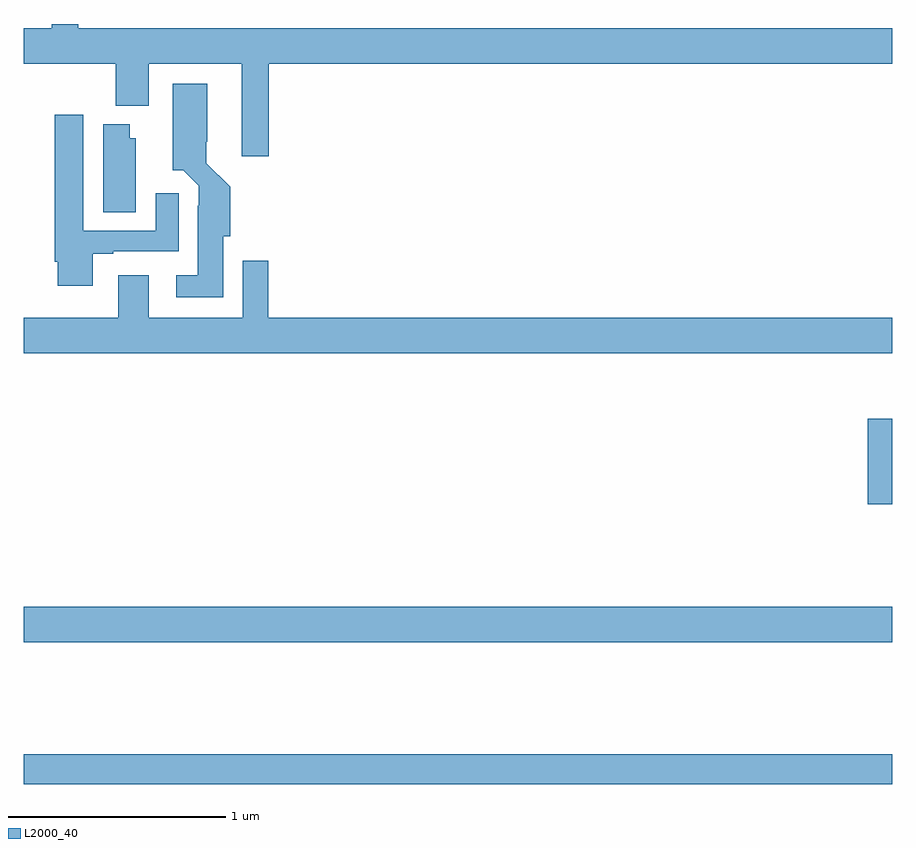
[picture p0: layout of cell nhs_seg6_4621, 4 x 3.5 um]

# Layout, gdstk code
import gdstk
lib = gdstk.Library(unit=1e-6, precision=1e-09)
def R(c, l, rs):  # rectangles x0, y0, x1, y1
    for r in rs: c.add(gdstk.rectangle(r[:2], r[2:], *l))
def P(c, l, *ps):  # polygons
    for p in ps: c.add(gdstk.Polygon(p, *l))
L2000_40 = (2000, 40)

nhs_seg6_4621 = lib.new_cell('nhs_seg6_4621')
R(nhs_seg6_4621, L2000_40, [(383,964,387,964.136), (383,964.652,387,964.816), (386.888,965.289,387,965.683)])
P(nhs_seg6_4621, L2000_40, [(384.128,967.316),(387,967.316),(387,967.48),(383.251,967.48),(383.251,967.5),(383.129,967.5),(383.129,967.48),(383,967.48),(383,967.316),(383.423,967.316),(383.423,967.124),(383.575,967.124),(383.575,967.316),(384.005,967.316),(384.005,966.891),(384.128,966.891)],
  [(383.92,966.522),(383.951,966.522),(383.951,966.75),(383.841,966.859),(383.841,966.958),(383.845,966.958),(383.845,967.225),(383.687,967.225),(383.687,966.826),(383.735,966.826),(383.805,966.756),(383.805,966.662),(383.801,966.662),(383.801,966.343),(383.703,966.343),(383.703,966.242),(383.92,966.242)],
  [(383.317,966.441),(383.413,966.441),(383.413,966.453),(383.713,966.453),(383.713,966.721),(383.609,966.721),(383.609,966.549),(383.275,966.549),(383.275,967.081),(383.144,967.081),(383.144,966.406),(383.156,966.406),(383.156,966.294),(383.317,966.294)],
  [(383.515,966.975),(383.488,966.975),(383.488,967.039),(383.366,967.039),(383.366,966.634),(383.515,966.634)],
  [(387,966.148),(384.125,966.148),(384.125,966.409),(384.009,966.409),(384.009,966.148),(383.575,966.148),(383.575,966.343),(383.435,966.343),(383.435,966.148),(383,966.148),(383,965.984),(387,965.984)])

lib.write_gds('nhs_seg6_4621.gds')
